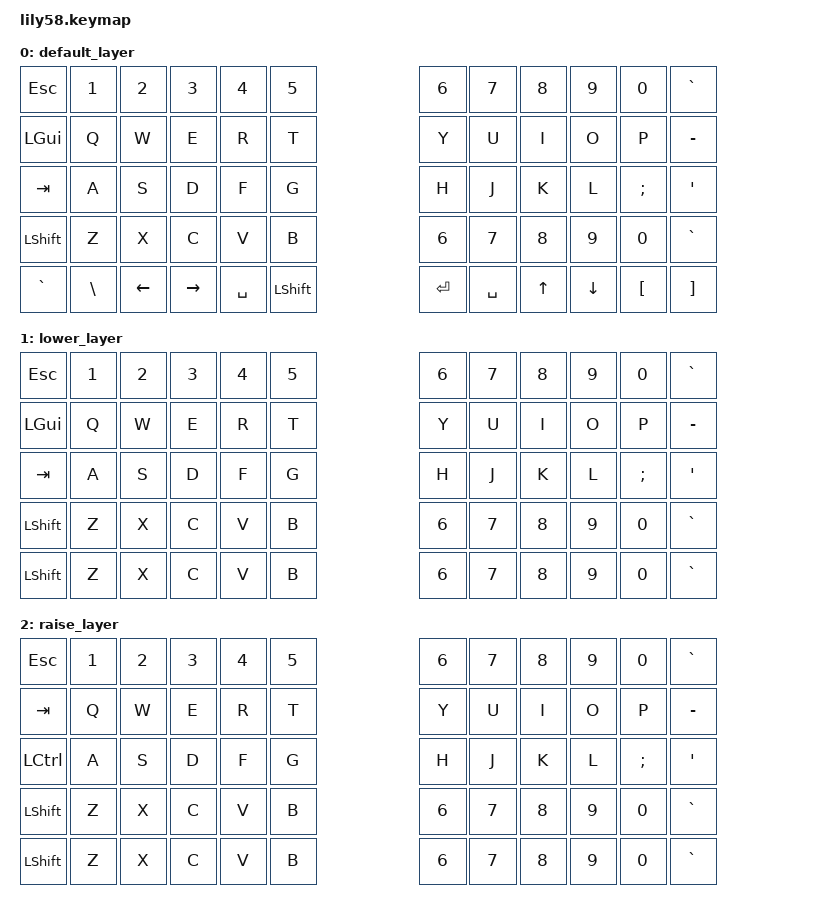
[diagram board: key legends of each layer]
/*
 * Copyright (c) 2020 The ZMK Contributors
 *
 * SPDX-License-Identifier: MIT
 */

#include <behaviors.dtsi>
#include <dt-bindings/zmk/keys.h>
// #include <dt-bindings/zmk/bt.h>
// #include <dt-bindings/zmk/ext_power.h>

/ {
    behaviors {
        hm: homerow_mods {
            compatible = "zmk,behavior-hold-tap";
            label = "HOMEROW_MODS";
            #binding-cells = <2>;
            tapping-term-ms = <150>;
            quick_tap_ms = <0>;
            flavor = "tap-preferred";
            bindings = <&kp>, <&kp>;
        };
    };

    combos {
        compatible = "zmk,combos";

        combo_esc {
            timeout-ms = <50>;
            key-positions = <0 1>;
            bindings = <&kp ESC>;
        };
    };

    keymap {
        compatible = "zmk,keymap";

        default_layer {
// ------------------------------------------------------------------------------------------------------------
// |  ESC  |  1  |  2  |  3   |  4   |  5   |                   |  6   |  7    |  8    |  9   |   0   |   `   |
// |  TAB  |  Q  |  W  |  E   |  R   |  T   |                   |  Y   |  U    |  I    |  O   |   P   |   -   |
// |  CTRL |  A  |  S  |  D   |  F   |  G   |                   |  H   |  J    |  K    |  L   |   ;   |   '   |
// | SHIFT |  Z  |  X  |  C   |  V   |  B   |   "["  |  |  "]"  |  N   |  M    |  ,    |  .   |   /   | SHIFT |
//                     | ALT  | GUI  | LOWER|  SPACE |  | ENTER | RAISE| BSPC  | GUI   |
            bindings = <
&kp ESC   &kp N1 &kp N2 &kp N3   &kp N4   &kp N5                     &kp N6 &kp N7   &kp N8    &kp N9  &kp N0   &kp GRAVE
&kp LGUI  &kp Q  &kp W  &kp E    &kp R    &kp T                      &kp Y  &kp U    &kp I     &kp O   &kp P    &kp MINUS
&kp TAB   &kp A  &kp S  &kp D    &kp F    &kp G                      &kp H  &kp J    &kp K     &kp L   &kp SEMI &kp SQT
&kp LSHFT &kp Z  &kp X  &kp C    &kp V    &kp B                      &kp N6 &kp N7   &kp N8    &kp N9  &kp N0   &kp GRAVE
&kp GRAVE &kp BSLH &kp LEFT    &kp RIGHT   &kp SPACE &kp LSHIFT     &kp ENTER  &kp SPACE  &kp UP &kp DOWN &kp LBKT &kp RBKT
            >;

        };

        lower_layer {
// ------------------------------------------------------------------------------------------------------------
// | BTCLR | BT1 | BT2 |  BT3 |  BT4 |  BT5 |                   |      |       |       |      |       |       |
// |  F1   |  F2 |  F3 |  F4  |  F5  |  F6  |                   |  F7  |  F8   |  F9   |  F10 |  F11  |  F12  |
// |   `   |  !  |  @  |  #   |  $   |  %   |                   |  ^   |  &    |  *    |  (   |   )   |   ~   |
// |       |     |     |      |      |      |        |  |       |      |  _    |  +    |  {   |   }   |  "|"  |
//                     |      |      |      |        |  |       |      |       |       |
            bindings = <
&kp ESC   &kp N1 &kp N2 &kp N3   &kp N4   &kp N5                     &kp N6 &kp N7   &kp N8    &kp N9  &kp N0   &kp GRAVE
&kp LGUI  &kp Q  &kp W  &kp E    &kp R    &kp T                      &kp Y  &kp U    &kp I     &kp O   &kp P    &kp MINUS
&kp TAB   &kp A  &kp S  &kp D    &kp F    &kp G                      &kp H  &kp J    &kp K     &kp L   &kp SEMI &kp SQT
&kp LSHFT &kp Z  &kp X  &kp C    &kp V    &kp B                      &kp N6 &kp N7   &kp N8    &kp N9  &kp N0   &kp GRAVE
&kp LSHFT &kp Z  &kp X  &kp C    &kp V    &kp B                      &kp N6 &kp N7   &kp N8    &kp N9  &kp N0   &kp GRAVE
            >;

        };

        raise_layer {
// ------------------------------------------------------------------------------------------------------------
// |       |     |     |      |      |      |                   |      |       |       |      |       |       |
// |   `   |  1  |  2  |  3   |  4   |  5   |                   |  6   |   7   |   8   |  9   |   0   |       |
// |   F1  |  F2 |  F3 |  F4  |  F5  |  F6  |                   |      |   <-  |   v   |  ^   |  ->   |       |
// |   F7  |  F8 |  F9 |  F10 |  F11 |  F12 |        |  |       |  +   |   -   |   =   |  [   |   ]   |   \   |
//                     |      |      |      |        |  |       |      |       |       |
            bindings = <
&kp ESC   &kp N1 &kp N2 &kp N3   &kp N4   &kp N5                     &kp N6 &kp N7   &kp N8    &kp N9  &kp N0   &kp GRAVE
&kp TAB   &kp Q  &kp W  &kp E    &kp R    &kp T                      &kp Y  &kp U    &kp I     &kp O   &kp P    &kp MINUS
&kp LCTRL &kp A  &kp S  &kp D    &kp F    &kp G                      &kp H  &kp J    &kp K     &kp L   &kp SEMI &kp SQT
&kp LSHFT &kp Z  &kp X  &kp C    &kp V    &kp B                      &kp N6 &kp N7   &kp N8    &kp N9  &kp N0   &kp GRAVE
&kp LSHFT &kp Z  &kp X  &kp C    &kp V    &kp B                      &kp N6 &kp N7   &kp N8    &kp N9  &kp N0   &kp GRAVE
            >;

        };
    };
};
